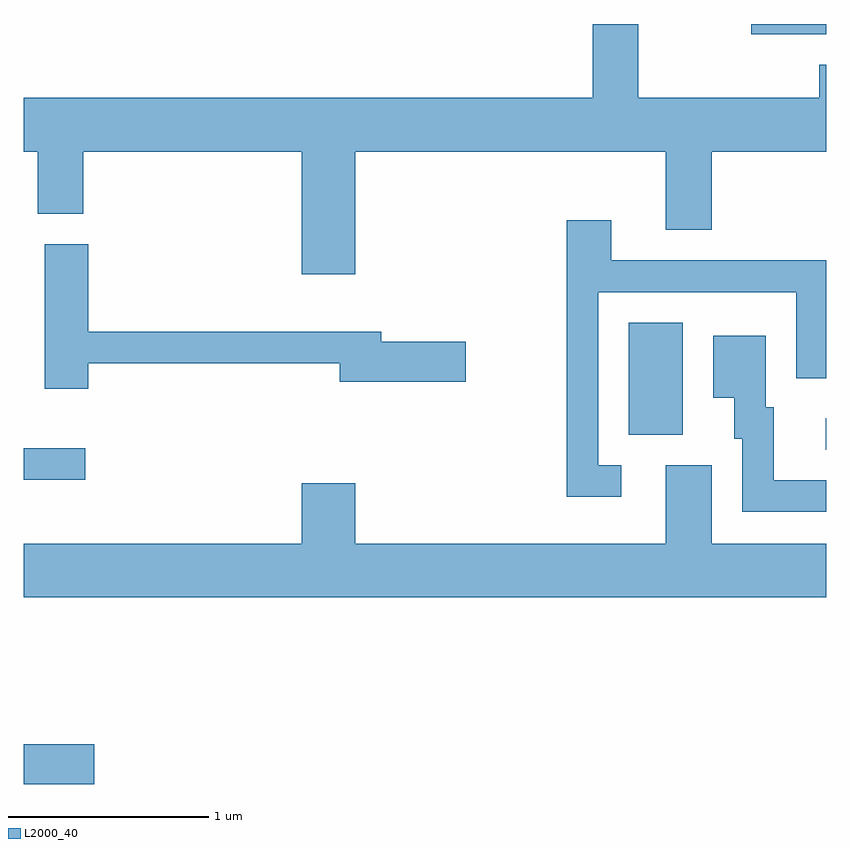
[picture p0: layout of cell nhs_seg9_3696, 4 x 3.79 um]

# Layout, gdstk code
import gdstk
lib = gdstk.Library(unit=1e-6, precision=1e-09)
def R(c, l, rs):  # rectangles x0, y0, x1, y1
    for r in rs: c.add(gdstk.rectangle(r[:2], r[2:], *l))
def P(c, l, *ps):  # polygons
    for p in ps: c.add(gdstk.Polygon(p, *l))
L2000_40 = (2000, 40)

nhs_seg9_3696 = lib.new_cell('nhs_seg9_3696')
R(nhs_seg9_3696, L2000_40, [(293.611,2008.646,293.964,2008.844), (293.611,2010.161,293.918,2010.319), (297.608,2010.311,297.611,2010.469), (296.626,2010.386,296.894,2010.944), (297.236,2012.381,297.611,2012.432)])
P(nhs_seg9_3696, L2000_40, [(295.264,2011.796),(296.811,2011.796),(296.811,2011.406),(297.039,2011.406),(297.039,2011.796),(297.611,2011.796),(297.611,2012.229),(297.576,2012.229),(297.576,2012.064),(296.674,2012.064),(296.674,2012.432),(296.446,2012.432),(296.446,2012.064),(293.611,2012.064),(293.611,2011.796),(293.681,2011.796),(293.681,2011.486),(293.909,2011.486),(293.909,2011.796),(294.996,2011.796),(294.996,2011.186),(295.264,2011.186)],
  [(296.588,2010.234),(296.474,2010.234),(296.474,2011.096),(297.461,2011.096),(297.461,2010.668),(297.611,2010.668),(297.611,2011.254),(296.539,2011.254),(296.539,2011.454),(296.316,2011.454),(296.316,2010.076),(296.588,2010.076)],
  [(293.934,2010.741),(295.186,2010.741),(295.186,2010.651),(295.814,2010.651),(295.814,2010.849),(295.394,2010.849),(295.394,2010.899),(293.934,2010.899),(293.934,2011.334),(293.716,2011.334),(293.716,2010.616),(293.934,2010.616)],
  [(297.611,2010.159),(297.349,2010.159),(297.349,2010.524),(297.309,2010.524),(297.309,2010.879),(297.046,2010.879),(297.046,2010.571),(297.151,2010.571),(297.151,2010.366),(297.191,2010.366),(297.191,2010.001),(297.611,2010.001)],
  [(297.611,2009.844),(297.039,2009.844),(297.039,2010.234),(296.811,2010.234),(296.811,2009.844),(295.264,2009.844),(295.264,2010.144),(294.996,2010.144),(294.996,2009.844),(293.611,2009.844),(293.611,2009.576),(297.611,2009.576)])

lib.write_gds('nhs_seg9_3696.gds')
